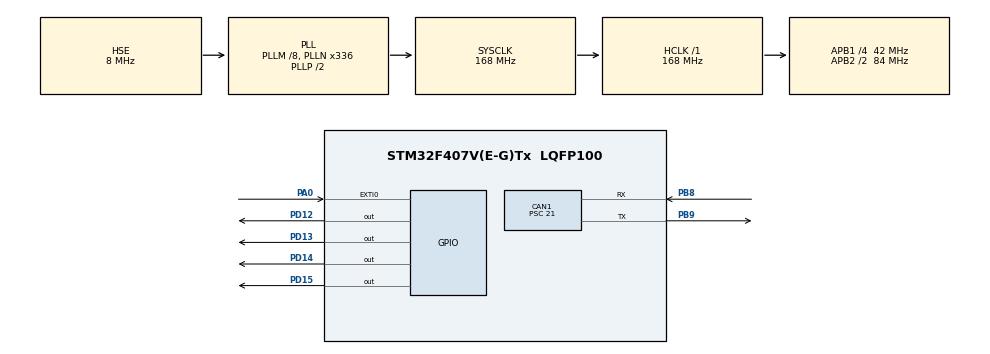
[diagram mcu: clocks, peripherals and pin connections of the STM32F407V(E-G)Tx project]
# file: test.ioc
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CAN1.BS1=CAN_BS1_12TQ
CAN1.BS2=CAN_BS2_4TQ
CAN1.CalculateTimeQuantum=500.0
CAN1.Mode=CAN_MODE_LOOPBACK
CAN1.Prescaler=21
FREERTOS.Tasks01=defaultTask,24,128,StartDefaultTask,Default,NULL,Dynamic,NULL,NULL
Mcu.Family=STM32F4
Mcu.Name=STM32F407V(E-G)Tx
Mcu.Package=LQFP100
NVIC.EXTI0_IRQn=true\:5\:0\:false\:false\:true\:true\:true\:true
NVIC.PriorityGroup=NVIC_PRIORITYGROUP_4
NVIC.TIM7_IRQn=true\:0\:0\:false\:false\:true\:false\:false\:true
NVIC.TimeBase=TIM7_IRQn
NVIC.TimeBaseIP=TIM7
PA0-WKUP.Signal=GPXTI0
PA13.Mode=Serial_Wire
PA13.Signal=SYS_JTMS-SWDIO
PA14.Mode=Serial_Wire
PA14.Signal=SYS_JTCK-SWCLK
PB8.Mode=Master
PB8.Signal=CAN1_RX
PB9.Mode=Master
PB9.Signal=CAN1_TX
PD12.Signal=GPIO_Output
PD13.Signal=GPIO_Output
PD14.Signal=GPIO_Output
PD15.Signal=GPIO_Output
PH0-OSC_IN.Mode=HSE-External-Oscillator
PH0-OSC_IN.Signal=RCC_OSC_IN
PH1-OSC_OUT.Mode=HSE-External-Oscillator
PH1-OSC_OUT.Signal=RCC_OSC_OUT
ProjectManager.HeapSize=0x200
ProjectManager.StackSize=0x400
ProjectManager.TargetToolchain=MDK-ARM V5.27
RCC.48MHZClocksFreq_Value=48000000
RCC.AHBFreq_Value=168000000
RCC.APB1CLKDivider=RCC_HCLK_DIV4
RCC.APB1Freq_Value=42000000
RCC.APB1TimFreq_Value=84000000
RCC.APB2CLKDivider=RCC_HCLK_DIV2
RCC.APB2Freq_Value=84000000
RCC.APB2TimFreq_Value=168000000
RCC.CortexFreq_Value=168000000
RCC.HCLKFreq_Value=168000000
RCC.HSE_VALUE=8000000
RCC.HSI_VALUE=16000000
RCC.PLLM=8
RCC.PLLN=336
RCC.PLLQ=7
RCC.PLLSourceVirtual=RCC_PLLSOURCE_HSE
RCC.SYSCLKFreq_VALUE=168000000
RCC.SYSCLKSource=RCC_SYSCLKSOURCE_PLLCLK
RCC.VCOOutputFreq_Value=336000000
VP_FREERTOS_VS_CMSIS_V2.Mode=CMSIS_V2
VP_SYS_VS_tim7.Mode=TIM7
board=STM32F407G-DISC1

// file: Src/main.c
/* USER CODE BEGIN Header */
/**
  ******************************************************************************
  * @file           : main.c
  * @brief          : Main program body
  ******************************************************************************
  * @attention
  *
  * <h2><center>&copy; Copyright (c) 2020 STMicroelectronics.
  * All rights reserved.</center></h2>
  *
  * This software component is licensed by ST under Ultimate Liberty license
  * SLA0044, the "License"; You may not use this file except in compliance with
  * the License. You may obtain a copy of the License at:
  *                             www.st.com/SLA0044
  *
  ******************************************************************************
  */
/* USER CODE END Header */

#include "main.h"
#include "cmsis_os.h"

/* USER CODE BEGIN Includes */
#include "FreeRTOS.h"
#include "task.h"
#include "semphr.h"
/* USER CODE END Includes */

CAN_HandleTypeDef hcan1;

SemaphoreHandle_t xBinarySemaphore;

xTaskHandle xTask1Handle;
xTaskHandle xTask2Handle;

uint8_t button_pressed = 0;

/* USER CODE BEGIN PV */
CAN_TxHeaderTypeDef pTxHeader;
CAN_RxHeaderTypeDef pRxHeader;
uint32_t TxMailbox;
uint8_t TxData;
uint8_t RxData;
CAN_FilterTypeDef sFilterConfig;
/* USER CODE END PV */

void SystemClock_Config(void);
static void MX_GPIO_Init(void);
static void MX_CAN1_Init(void);

void vTask1(void *pvParameters);
void vTask2(void *pvParameters);

int main(void)
{

  /* MCU Configuration--------------------------------------------------------*/

  /* Reset of all peripherals, Initializes the Flash interface and the Systick. */
  HAL_Init();

  /* Configure the system clock */
  SystemClock_Config();

  /* Initialize all configured peripherals */
  MX_GPIO_Init();
  MX_CAN1_Init();
  /* USER CODE BEGIN 2 */

pTxHeader.DLC = 1;
pTxHeader.IDE = CAN_ID_STD;
pTxHeader.RTR = CAN_RTR_DATA;
pTxHeader.StdId = 0X244;

sFilterConfig.FilterFIFOAssignment = CAN_FilterFIFO0;
sFilterConfig.FilterIdHigh = 0x245<<5;
sFilterConfig.FilterIdLow = 0;
sFilterConfig.FilterMaskIdHigh = 0;
sFilterConfig.FilterMaskIdLow = 0;
sFilterConfig.FilterScale = CAN_FILTERSCALE_32BIT;
sFilterConfig.FilterActivation = ENABLE;
HAL_CAN_ConfigFilter(&hcan1, &sFilterConfig);

HAL_CAN_Start(&hcan1);

  /* USER CODE END 2 */

  /* Init scheduler */
  osKernelInitialize();

  /* USER CODE BEGIN RTOS_SEMAPHORES */
  /* add semaphores, ... */
	xBinarySemaphore = xSemaphoreCreateBinary();
  /* USER CODE END RTOS_SEMAPHORES */

  /* Create the thread(s) */
  /* creation of defaultTask */

  /* USER CODE BEGIN RTOS_THREADS */
  /* add threads, ... */
	if (xBinarySemaphore != NULL){
        /* Create Task 1 */
        if (xTaskCreate(vTask1, "Rx", configMINIMAL_STACK_SIZE, NULL, 2, &xTask1Handle) != pdTRUE)
        {
            /* Task could not be created */
            while(1);
        }

        /* Create Task 2 */
        if (xTaskCreate(vTask2, "Tx", configMINIMAL_STACK_SIZE, NULL, 1, &xTask2Handle) != pdTRUE)
        {
            /* Task could not be created */
            while(1);
        }
    }
  /* USER CODE END RTOS_THREADS */

  /* Start scheduler */
  osKernelStart();

  /* We should never get here as control is now taken by the scheduler */
  /* Infinite loop */
  while (1)
  {

  }
}

void SystemClock_Config(void)
{
  RCC_OscInitTypeDef RCC_OscInitStruct = {0};
  RCC_ClkInitTypeDef RCC_ClkInitStruct = {0};

  /** Configure the main internal regulator output voltage
  */
  __HAL_RCC_PWR_CLK_ENABLE();
  __HAL_PWR_VOLTAGESCALING_CONFIG(PWR_REGULATOR_VOLTAGE_SCALE1);
  /** Initializes the CPU, AHB and APB busses clocks
  */
  RCC_OscInitStruct.OscillatorType = RCC_OSCILLATORTYPE_HSE;
  RCC_OscInitStruct.HSEState = RCC_HSE_ON;
  RCC_OscInitStruct.PLL.PLLState = RCC_PLL_ON;
  RCC_OscInitStruct.PLL.PLLSource = RCC_PLLSOURCE_HSE;
  RCC_OscInitStruct.PLL.PLLM = 8;
  RCC_OscInitStruct.PLL.PLLN = 336;
  RCC_OscInitStruct.PLL.PLLP = RCC_PLLP_DIV2;
  RCC_OscInitStruct.PLL.PLLQ = 7;
  if (HAL_RCC_OscConfig(&RCC_OscInitStruct) != HAL_OK)
  {
    Error_Handler();
  }
  /** Initializes the CPU, AHB and APB busses clocks
  */
  RCC_ClkInitStruct.ClockType = RCC_CLOCKTYPE_HCLK|RCC_CLOCKTYPE_SYSCLK
                              |RCC_CLOCKTYPE_PCLK1|RCC_CLOCKTYPE_PCLK2;
  RCC_ClkInitStruct.SYSCLKSource = RCC_SYSCLKSOURCE_PLLCLK;
  RCC_ClkInitStruct.AHBCLKDivider = RCC_SYSCLK_DIV1;
  RCC_ClkInitStruct.APB1CLKDivider = RCC_HCLK_DIV4;
  RCC_ClkInitStruct.APB2CLKDivider = RCC_HCLK_DIV2;

  if (HAL_RCC_ClockConfig(&RCC_ClkInitStruct, FLASH_LATENCY_5) != HAL_OK)
  {
    Error_Handler();
  }
}

static void MX_CAN1_Init(void)
{

  hcan1.Instance = CAN1;
  hcan1.Init.Prescaler = 21;
  hcan1.Init.Mode = CAN_MODE_LOOPBACK;
  hcan1.Init.SyncJumpWidth = CAN_SJW_1TQ;
  hcan1.Init.TimeSeg1 = CAN_BS1_12TQ;
  hcan1.Init.TimeSeg2 = CAN_BS2_4TQ;
  hcan1.Init.TimeTriggeredMode = DISABLE;
  hcan1.Init.AutoBusOff = DISABLE;
  hcan1.Init.AutoWakeUp = DISABLE;
  hcan1.Init.AutoRetransmission = DISABLE;
  hcan1.Init.ReceiveFifoLocked = DISABLE;
  hcan1.Init.TransmitFifoPriority = DISABLE;
  if (HAL_CAN_Init(&hcan1) != HAL_OK)
  {
    Error_Handler();
  }

}

static void MX_GPIO_Init(void)
{
  GPIO_InitTypeDef GPIO_InitStruct = {0};

  /* GPIO Ports Clock Enable */
  __HAL_RCC_GPIOH_CLK_ENABLE();
  __HAL_RCC_GPIOA_CLK_ENABLE();
  __HAL_RCC_GPIOD_CLK_ENABLE();
  __HAL_RCC_GPIOB_CLK_ENABLE();

  /*Configure GPIO pin Output Level */
  HAL_GPIO_WritePin(GPIOD, GPIO_PIN_12|GPIO_PIN_13|GPIO_PIN_14|GPIO_PIN_15, GPIO_PIN_RESET);

  /*Configure GPIO pin : PA0 */
  GPIO_InitStruct.Pin = GPIO_PIN_0;
  GPIO_InitStruct.Mode = GPIO_MODE_IT_RISING;
  GPIO_InitStruct.Pull = GPIO_NOPULL;
  HAL_GPIO_Init(GPIOA, &GPIO_InitStruct);

  /*Configure GPIO pins : PD12 PD13 PD14 PD15 */
  GPIO_InitStruct.Pin = GPIO_PIN_12|GPIO_PIN_13|GPIO_PIN_14|GPIO_PIN_15;
  GPIO_InitStruct.Mode = GPIO_MODE_OUTPUT_PP;
  GPIO_InitStruct.Pull = GPIO_NOPULL;
  GPIO_InitStruct.Speed = GPIO_SPEED_FREQ_LOW;
  HAL_GPIO_Init(GPIOD, &GPIO_InitStruct);

  /* EXTI interrupt init*/
  HAL_NVIC_SetPriority(EXTI0_IRQn, 5, 0);
  HAL_NVIC_EnableIRQ(EXTI0_IRQn);

}

/* USER CODE BEGIN 4 */
/* Task1 Rx*/
void vTask1(void *pvParameters)
{
	while(1)
	{
		xSemaphoreTake(xBinarySemaphore, portMAX_DELAY);
		while( HAL_CAN_GetRxMessage(&hcan1, CAN_RX_FIFO0, &pRxHeader, &RxData) != HAL_OK );
		GPIOD->ODR = RxData<<12;
	}
}

/* Task2 Tx*/
void vTask2(void *pvParameters)
{
	while(1)
	{
		if(button_pressed)
		{
			TxData++;
			button_pressed = 0;
			if( HAL_CAN_AddTxMessage(&hcan1, &pTxHeader, &TxData, &TxMailbox) == HAL_OK)
			{
				xSemaphoreGive(xBinarySemaphore);
			}
		}
	}
}
/* USER CODE END 4 */

 /**
  * @brief  Period elapsed callback in non blocking mode
  * @note   This function is called  when TIM7 interrupt took place, inside
  * HAL_TIM_IRQHandler(). It makes a direct call to HAL_IncTick() to increment
  * a global variable "uwTick" used as application time base.
  * @param  htim : TIM handle
  * @retval None
  */
void HAL_TIM_PeriodElapsedCallback(TIM_HandleTypeDef *htim)
{
  if (htim->Instance == TIM7) {
    HAL_IncTick();
  }
}

void Error_Handler(void)
{
}

/************************ (C) COPYRIGHT STMicroelectronics *****END OF FILE****/
